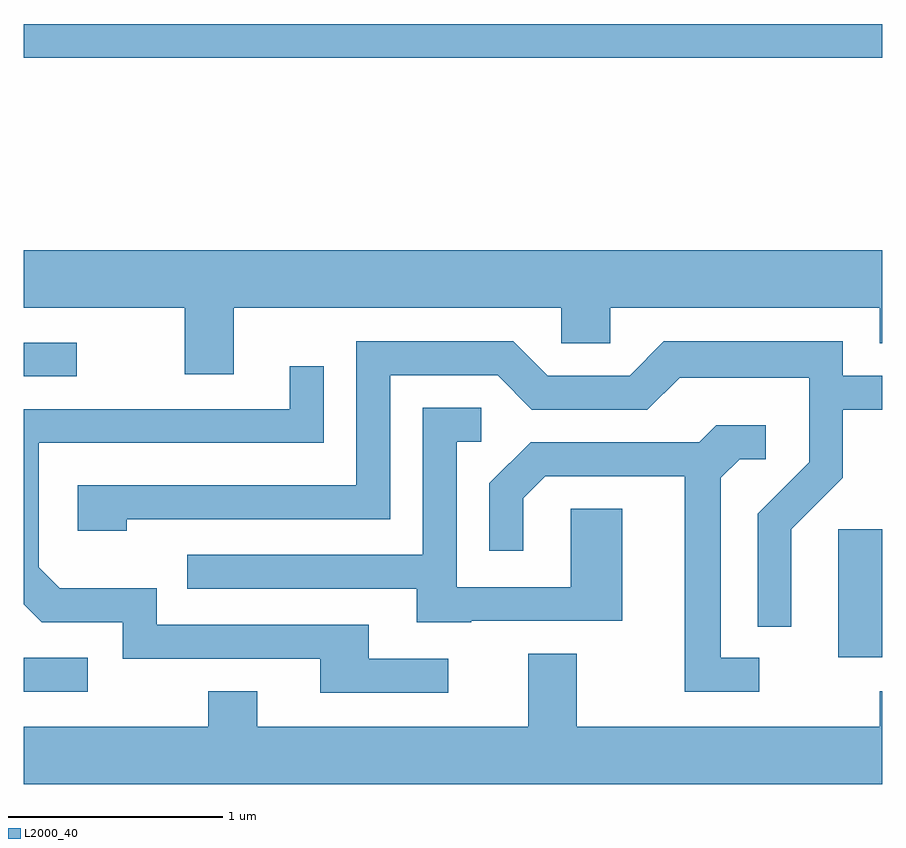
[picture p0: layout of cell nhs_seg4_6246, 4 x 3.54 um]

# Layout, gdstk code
import gdstk
lib = gdstk.Library(unit=1e-6, precision=1e-09)
def R(c, l, rs):  # rectangles x0, y0, x1, y1
    for r in rs: c.add(gdstk.rectangle(r[:2], r[2:], *l))
def P(c, l, *ps):  # polygons
    for p in ps: c.add(gdstk.Polygon(p, *l))
L2000_40 = (2000, 40)

nhs_seg4_6246 = lib.new_cell('nhs_seg4_6246')
R(nhs_seg4_6246, L2000_40, [(367.611,1370.646,367.908,1370.804), (371.406,1370.806,371.611,1371.404), (367.611,1372.116,367.858,1372.274), (367.611,1373.601,371.611,1373.759)])
P(nhs_seg4_6246, L2000_40, [(368.589,1372.436),(370.116,1372.436),(370.116,1372.271),(370.344,1372.271),(370.344,1372.436),(371.601,1372.436),(371.601,1372.271),(371.611,1372.271),(371.611,1372.704),(367.611,1372.704),(367.611,1372.436),(368.361,1372.436),(368.361,1372.126),(368.589,1372.126)],
  [(371.189,1371.404),(371.429,1371.644),(371.429,1371.961),(371.611,1371.961),(371.611,1372.119),(371.429,1372.119),(371.429,1372.279),(370.594,1372.279),(370.434,1372.119),(370.052,1372.119),(369.892,1372.279),(369.161,1372.279),(369.161,1371.609),(367.861,1371.609),(367.861,1371.396),(368.089,1371.396),(368.089,1371.451),(369.319,1371.451),(369.319,1372.121),(369.819,1372.121),(369.979,1371.961),(370.517,1371.961),(370.667,1372.111),(371.271,1372.111),(371.271,1371.717),(371.031,1371.477),(371.031,1370.948),(371.189,1370.948)],
  [(369.588,1370.799),(369.219,1370.799),(369.219,1370.959),(368.229,1370.959),(368.229,1371.129),(367.777,1371.129),(367.679,1371.227),(367.679,1371.806),(369.009,1371.806),(369.009,1372.163),(368.851,1372.163),(368.851,1371.964),(367.611,1371.964),(367.611,1371.054),(367.694,1370.971),(368.071,1370.971),(368.071,1370.801),(368.991,1370.801),(368.991,1370.641),(369.588,1370.641)],
  [(369.695,1370.976),(370.399,1370.976),(370.399,1371.499),(370.161,1371.499),(370.161,1371.134),(369.629,1371.134),(369.629,1371.811),(369.743,1371.811),(369.743,1371.969),(369.471,1371.969),(369.471,1371.284),(368.373,1371.284),(368.373,1371.126),(369.441,1371.126),(369.441,1370.971),(369.695,1370.971)],
  [(371.038,1370.804),(370.859,1370.804),(370.859,1371.644),(370.947,1371.731),(371.068,1371.731),(371.068,1371.889),(370.839,1371.889),(370.759,1371.809),(369.974,1371.809),(369.781,1371.617),(369.781,1371.303),(369.939,1371.303),(369.939,1371.549),(370.042,1371.651),(370.691,1371.651),(370.691,1370.646),(371.038,1370.646)],
  [(371.611,1370.649),(371.601,1370.649),(371.601,1370.484),(370.189,1370.484),(370.189,1370.824),(369.961,1370.824),(369.961,1370.484),(368.699,1370.484),(368.699,1370.649),(368.471,1370.649),(368.471,1370.484),(367.611,1370.484),(367.611,1370.216),(371.611,1370.216)])

lib.write_gds('nhs_seg4_6246.gds')
